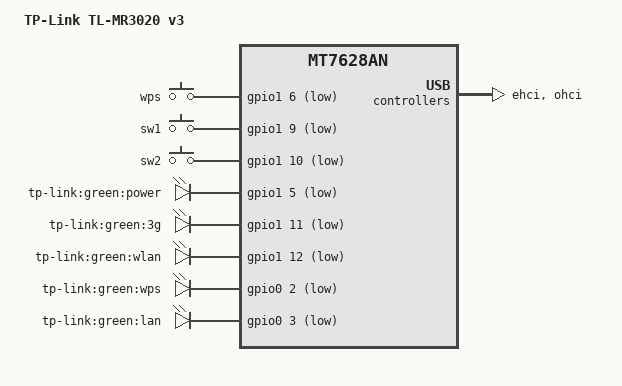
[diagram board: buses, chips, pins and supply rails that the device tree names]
/dts-v1/;

#include "TL-WR84XN.dtsi"

#include <dt-bindings/gpio/gpio.h>
#include <dt-bindings/input/input.h>

/ {
	compatible = "tplink,tl-mr3020-v3", "mediatek,mt7628an-soc";
	model = "TP-Link TL-MR3020 v3";

	gpio-keys-polled {
		compatible = "gpio-keys-polled";
		#address-cells = <1>;
		#size-cells = <0>;
		poll-interval = <20>;

		wps {
			label = "wps";
			gpios = <&gpio1 6 GPIO_ACTIVE_LOW>;
			linux,code = <KEY_WPS_BUTTON>;
		};

		modec1 {
			label = "sw1";
			gpios = <&gpio1 9 GPIO_ACTIVE_LOW>;
			linux,code = <BTN_0>;
		};

		modec2 {
			label = "sw2";
			gpios = <&gpio1 10 GPIO_ACTIVE_LOW>;
			linux,code = <BTN_1>;
		};
	};

	gpio-leds {
		compatible = "gpio-leds";

		power {
			label = "tp-link:green:power";
			gpios = <&gpio1 5 GPIO_ACTIVE_LOW>;
			default-state = "on";
		};

		wan {
			label = "tp-link:green:3g";
			gpios = <&gpio1 11 GPIO_ACTIVE_LOW>;
		};

		wlan {
			label = "tp-link:green:wlan";
			gpios = <&gpio1 12 GPIO_ACTIVE_LOW>;
		};

		wps {
			label = "tp-link:green:wps";
			gpios = <&gpio0 2 GPIO_ACTIVE_LOW>;
			linux,default-trigger = "timer";
		};

		lan {
			label = "tp-link:green:lan";
			gpios = <&gpio0 3 GPIO_ACTIVE_LOW>;
		};

	};
};

&ehci {
	status = "okay";
};

&ohci {
	status = "okay";
};

&pinctrl {
	state_default: pinctrl0 {
		gpio {
			ralink,group = "i2s", "p1led_an", "refclk", "wdt", "wled_an";
			ralink,function = "gpio";
		};
	};
};

